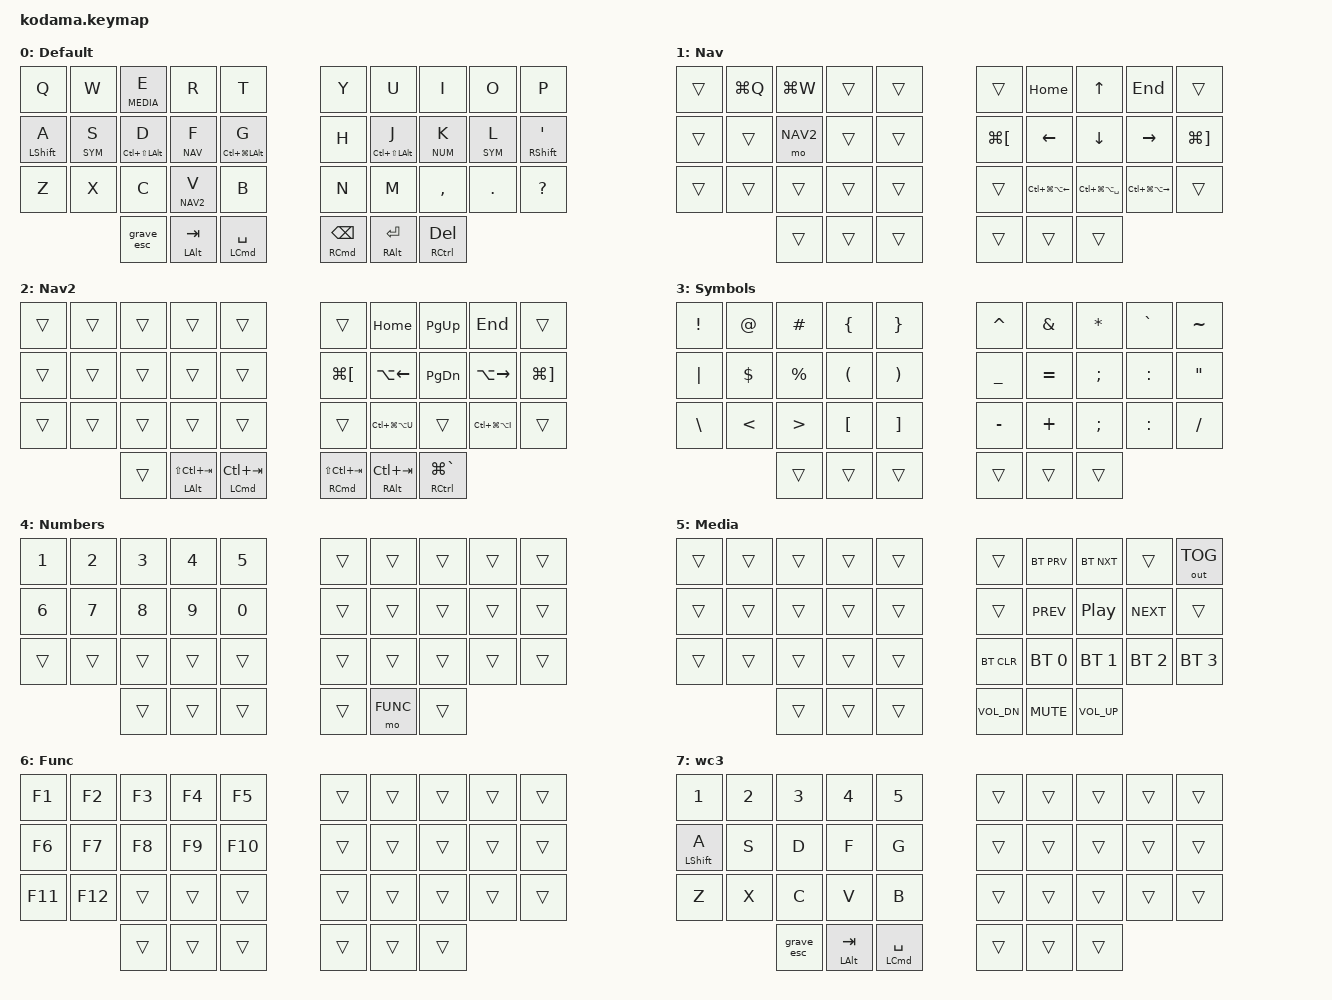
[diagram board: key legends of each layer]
#include <behaviors.dtsi>
#include <dt-bindings/zmk/keys.h>
#include <dt-bindings/zmk/bt.h>
#include <dt-bindings/zmk/outputs.h>

#define DEFAULT    0
#define NAV        1
#define NAV2       2
#define SYM        3
#define NUM        4
#define MEDIA      5
#define FUNC       6
#define WC3        7

&caps_word {
  continue-list = <UNDERSCORE MINUS>;
};

/ {
  combos {
    compatible = "zmk,combos";
	combo_game {
      timeout-ms = <50>;
      key-positions = <24 25>;
      bindings = <&tog WC3>;
    };
    // combo_undo {
    //   timeout-ms = <50>;
    //   key-positions = <20 21>;
    //   bindings = <&kp LG(Z)>;
    // };
  };
};

/ {
  behaviors {
    hm: homerow_mods {
      compatible = "zmk,behavior-hold-tap";
      label = "HOMEROW_MODS";
      #binding-cells = <2>;
      tapping-term-ms = <150>; // produces tap if held longer than tapping-term-ms
      quick_tap_ms = <150>;    // if double tapped, long-tabs the key instead of hold
      flavor = "balanced";
      bindings = <&kp>, <&kp>;
    };
    grave_esc: grave_escape {
      compatible = "zmk,behavior-mod-morph";
      #binding-cells = <0>;
      bindings = <&hm LCTRL ESC>, <&kp GRAVE>;
      mods = <(MOD_LGUI|MOD_RGUI)>;
      keep-mods = <(MOD_LGUI|MOD_RGUI)>;
    };
  };
  keymap {
    compatible = "zmk,keymap";
    default_layer {
        label = "Default";
        bindings = <
            &kp Q         &kp W         &lt MEDIA E         &kp R      &kp T                &kp Y          &kp U               &kp I           &kp O         &kp P
            &hm LSHIFT A  &lt SYM S     &hm LC(LS(LALT)) D  &lt NAV F     &hm LC(LG(LALT)) G   &kp H          &hm LC(LS(LALT)) J  &lt NUM K       &lt SYM L     &hm RSHIFT SQT
            &kp Z         &kp X         &kp C               &lt NAV2 V    &kp B                &kp N          &kp M               &kp COMMA       &kp DOT       &kp QMARK
                                        &grave_esc    &hm LALT TAB  &hm LCMD SPACE       &hm RCMD BSPC  &hm RALT ENTER      &hm RCTRL DEL
        >;
    };
    nav_layer {
            label = "Nav";
            bindings = <
                &trans  &kp LG(Q)  &kp LG(W)  &trans   &trans             &trans         &kp HOME    &kp UP     &kp END    &trans
                &trans  &trans     &mo NAV2   &trans   &trans             &kp LG(LBKT)   &kp LEFT    &kp DOWN   &kp RIGHT  &kp LG(RBKT)
                &trans  &trans     &trans     &trans   &trans             &trans         &kp LC(LG(LA(LEFT))) &kp LC(LG(LA(SPACE))) &kp LC(LG(LA(RIGHT))) &trans
                                   &trans     &trans   &trans             &trans         &trans      &trans
            >;
    };
    nav2_layer {
        label = "Nav2";
        bindings = <
            &trans  &trans    &trans  &trans                 &trans                 &trans                &kp HOME           &kp PG_UP           &kp END            &trans
            &trans  &trans    &trans  &trans                 &trans                 &kp LG(LBKT)          &kp LA(LEFT)       &kp PG_DN           &kp LA(RIGHT)      &kp LG(RBKT)
            &trans  &trans    &trans  &trans                 &trans                 &trans                &kp LC(LG(LA(U)))  &trans              &kp LC(LG(LA(I)))  &trans
                                                &trans  &hm LALT LS(LC(TAB))  &hm LCMD LC(TAB)     &hm RCMD LS(LC(TAB))  &hm RALT LC(TAB)   &hm RCTRL LG(GRAVE)
        >;
    };
    sym_layer {
        label = "Symbols";
        bindings = <
            &kp EXCL  &kp AT    &kp HASH  &kp LBRC  &kp RBRC     &kp CARET  &kp AMPS  &kp ASTRK  &kp GRAVE  &kp TILDE
            &kp PIPE  &kp DLLR  &kp PRCNT &kp LPAR  &kp RPAR     &kp UNDER  &kp EQUAL &kp SEMI   &kp COLON  &kp DQT
            &kp BSLH  &kp LT    &kp GT    &kp LBKT  &kp RBKT     &kp MINUS  &kp PLUS  &kp SEMI   &kp COLON  &kp FSLH
                               &trans    &trans    &trans        &trans     &trans    &trans
        >;
    };
    num_layer {
        label = "Numbers";
        bindings = <
            &kp N1  &kp N2  &kp N3  &kp N4  &kp N5     &trans  &trans  &trans  &trans  &trans
            &kp N6  &kp N7  &kp N8  &kp N9  &kp N0     &trans  &trans  &trans  &trans  &trans
            &trans  &trans  &trans  &trans  &trans     &trans  &trans  &trans  &trans  &trans
                            &trans  &trans  &trans     &trans  &mo FUNC   &trans
        >;
    };
    media_layer {
        label = "Media";
        bindings = <
            &trans  &trans  &trans  &trans  &trans     &trans        &bt BT_PRV    &bt BT_NXT        &trans        &out OUT_TOG
            &trans  &trans  &trans  &trans  &trans     &trans        &kp C_PREV    &kp C_PLAY_PAUSE  &kp C_NEXT    &trans
            &trans  &trans  &trans  &trans  &trans     &bt BT_CLR    &bt BT_SEL 0  &bt BT_SEL 1      &bt BT_SEL 2  &bt BT_SEL 3
                                            &trans  &trans  &trans     &kp C_VOL_DN  &kp C_MUTE    &kp C_VOL_UP
        >;
    };
    func_layer {
        label = "Func";
        bindings = <
            &kp F1   &kp F2   &kp F3  &kp F4  &kp F5     &trans  &trans  &trans  &trans  &trans
            &kp F6   &kp F7   &kp F8  &kp F9  &kp F10    &trans  &trans  &trans  &trans  &trans
            &kp F11  &kp F12  &trans  &trans  &trans     &trans  &trans  &trans  &trans  &trans
                                                &trans  &trans  &trans     &trans  &trans  &trans
            >;
    };
    wc3_layer {
        label = "wc3";
        bindings = <
            &kp N1  &kp N2  &kp N3  &kp N4  &kp N5                 &trans  &trans  &trans  &trans  &trans
            &hm LSHIFT A  &kp S &kp D &kp F &kp G                  &trans  &trans  &trans  &trans  &trans
            &kp Z         &kp X &kp C &kp V &kp B                  &trans  &trans  &trans  &trans  &trans
                     &grave_esc  &hm LALT TAB  &hm LCMD SPACE      &trans  &trans  &trans
            >;
    };
  };
};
